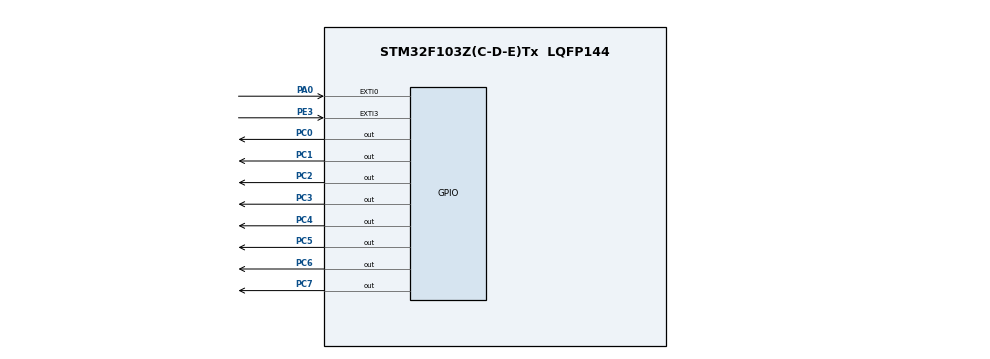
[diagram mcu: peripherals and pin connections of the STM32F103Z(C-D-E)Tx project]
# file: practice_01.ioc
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FREERTOS.BinarySemaphores01=myBinarySem01,Dynamic,NULL
FREERTOS.Queues01=myQueue01,16,uint16_t,0,Dynamic,NULL,NULL
FREERTOS.Tasks01=defaultTask,24,128,StartDefaultTask,Default,NULL,Dynamic,NULL,NULL;myTask02,8,128,StartTask02,Default,NULL,Dynamic,NULL,NULL;myTask03,8,128,StartTask03,Default,NULL,Dynamic,NULL,NULL;myTask04,8,128,StartTask04,Default,NULL,Dynamic,NULL,NULL
Mcu.Family=STM32F1
Mcu.Name=STM32F103Z(C-D-E)Tx
Mcu.Package=LQFP144
NVIC.EXTI0_IRQn=true\:5\:0\:false\:false\:true\:true\:true\:true\:true
NVIC.EXTI3_IRQn=true\:5\:0\:false\:false\:true\:true\:true\:true\:true
NVIC.PriorityGroup=NVIC_PRIORITYGROUP_4
PA0-WKUP.GPIO_ModeDefaultEXTI=GPIO_MODE_IT_RISING
PA0-WKUP.GPIO_PuPd=GPIO_PULLDOWN
PA0-WKUP.Signal=GPXTI0
PC0.Signal=GPIO_Output
PC1.Signal=GPIO_Output
PC2.Signal=GPIO_Output
PC3.Signal=GPIO_Output
PC4.Signal=GPIO_Output
PC5.Signal=GPIO_Output
PC6.Signal=GPIO_Output
PC7.Signal=GPIO_Output
PE3.GPIO_ModeDefaultEXTI=GPIO_MODE_IT_FALLING
PE3.GPIO_PuPd=GPIO_PULLDOWN
PE3.Signal=GPXTI3
ProjectManager.HeapSize=0x200
ProjectManager.StackSize=0x400
ProjectManager.TargetToolchain=STM32CubeIDE
RCC.APB1Freq_Value=8000000
RCC.APB2Freq_Value=8000000
VP_FREERTOS_VS_CMSIS_V2.Mode=CMSIS_V2
VP_SYS_VS_ND.Mode=No_Debug
board=custom

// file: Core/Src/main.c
/* USER CODE BEGIN Header */
/**
  ******************************************************************************
  * @file           : main.c
  * @brief          : Main program body
  ******************************************************************************
  * @attention
  *
  * Copyright (c) 2023 STMicroelectronics.
  * All rights reserved.
  *
  * This software is licensed under terms that can be found in the LICENSE file
  * in the root directory of this software component.
  * If no LICENSE file comes with this software, it is provided AS-IS.
  *
  ******************************************************************************
  */
/* USER CODE END Header */
#include "main.h"
#include "cmsis_os.h"

/* USER CODE BEGIN PD */
int counter = 0;

int digit[7][10] = {
		{1,0,1,1,0,1,1,1,1,1},
		{1,1,1,1,1,0,0,1,1,1},
		{1,1,0,1,1,1,1,1,1,1},
		{1,0,1,1,0,1,1,0,1,1},
		{1,0,1,0,0,0,1,0,1,0},
		{1,0,0,0,1,1,1,0,1,1},
		{0,0,1,1,1,1,1,0,1,1}
};
/* USER CODE END PD */

/* Definitions for defaultTask */
osThreadId_t defaultTaskHandle;
const osThreadAttr_t defaultTask_attributes = {
  .name = "defaultTask",
  .stack_size = 128 * 4,
  .priority = (osPriority_t) osPriorityNormal,
};
/* Definitions for myTask02 */
osThreadId_t myTask02Handle;
const osThreadAttr_t myTask02_attributes = {
  .name = "myTask02",
  .stack_size = 128 * 4,
  .priority = (osPriority_t) osPriorityLow,
};
/* Definitions for myTask03 */
osThreadId_t myTask03Handle;
const osThreadAttr_t myTask03_attributes = {
  .name = "myTask03",
  .stack_size = 128 * 4,
  .priority = (osPriority_t) osPriorityLow,
};
/* Definitions for myTask04 */
osThreadId_t myTask04Handle;
const osThreadAttr_t myTask04_attributes = {
  .name = "myTask04",
  .stack_size = 128 * 4,
  .priority = (osPriority_t) osPriorityLow,
};
/* Definitions for myQueue01 */
osMessageQueueId_t myQueue01Handle;
const osMessageQueueAttr_t myQueue01_attributes = {
  .name = "myQueue01"
};
/* Definitions for myBinarySem01 */
osSemaphoreId_t myBinarySem01Handle;
const osSemaphoreAttr_t myBinarySem01_attributes = {
  .name = "myBinarySem01"
};

void SystemClock_Config(void);
static void MX_GPIO_Init(void);
void StartDefaultTask(void *argument);
void StartTask02(void *argument);
void StartTask03(void *argument);
void StartTask04(void *argument);

int main(void)
{

  /* MCU Configuration--------------------------------------------------------*/

  /* Reset of all peripherals, Initializes the Flash interface and the Systick. */
  HAL_Init();

  /* Configure the system clock */
  SystemClock_Config();

  /* Initialize all configured peripherals */
  MX_GPIO_Init();

  /* Init scheduler */
  osKernelInitialize();

  /* Create the semaphores(s) */
  /* creation of myBinarySem01 */
  myBinarySem01Handle = osSemaphoreNew(1, 1, &myBinarySem01_attributes);

  /* Create the queue(s) */
  /* creation of myQueue01 */
  myQueue01Handle = osMessageQueueNew (16, sizeof(uint16_t), &myQueue01_attributes);

  /* Create the thread(s) */
  /* creation of defaultTask */
  defaultTaskHandle = osThreadNew(StartDefaultTask, NULL, &defaultTask_attributes);

  /* creation of myTask02 */
  myTask02Handle = osThreadNew(StartTask02, NULL, &myTask02_attributes);

  /* creation of myTask03 */
  myTask03Handle = osThreadNew(StartTask03, NULL, &myTask03_attributes);

  /* creation of myTask04 */
  myTask04Handle = osThreadNew(StartTask04, NULL, &myTask04_attributes);

  /* Start scheduler */
  osKernelStart();

  /* We should never get here as control is now taken by the scheduler */
  /* Infinite loop */
  while (1)
  {

  }
}

void SystemClock_Config(void)
{
  RCC_OscInitTypeDef RCC_OscInitStruct = {0};
  RCC_ClkInitTypeDef RCC_ClkInitStruct = {0};

  /** Initializes the RCC Oscillators according to the specified parameters
  * in the RCC_OscInitTypeDef structure.
  */
  RCC_OscInitStruct.OscillatorType = RCC_OSCILLATORTYPE_HSI;
  RCC_OscInitStruct.HSIState = RCC_HSI_ON;
  RCC_OscInitStruct.HSICalibrationValue = RCC_HSICALIBRATION_DEFAULT;
  RCC_OscInitStruct.PLL.PLLState = RCC_PLL_NONE;
  if (HAL_RCC_OscConfig(&RCC_OscInitStruct) != HAL_OK)
  {
    Error_Handler();
  }

  /** Initializes the CPU, AHB and APB buses clocks
  */
  RCC_ClkInitStruct.ClockType = RCC_CLOCKTYPE_HCLK|RCC_CLOCKTYPE_SYSCLK
                              |RCC_CLOCKTYPE_PCLK1|RCC_CLOCKTYPE_PCLK2;
  RCC_ClkInitStruct.SYSCLKSource = RCC_SYSCLKSOURCE_HSI;
  RCC_ClkInitStruct.AHBCLKDivider = RCC_SYSCLK_DIV1;
  RCC_ClkInitStruct.APB1CLKDivider = RCC_HCLK_DIV1;
  RCC_ClkInitStruct.APB2CLKDivider = RCC_HCLK_DIV1;

  if (HAL_RCC_ClockConfig(&RCC_ClkInitStruct, FLASH_LATENCY_0) != HAL_OK)
  {
    Error_Handler();
  }
}

static void MX_GPIO_Init(void)
{
  GPIO_InitTypeDef GPIO_InitStruct = {0};

  /* GPIO Ports Clock Enable */
  __HAL_RCC_GPIOE_CLK_ENABLE();
  __HAL_RCC_GPIOC_CLK_ENABLE();
  __HAL_RCC_GPIOA_CLK_ENABLE();

  /*Configure GPIO pin Output Level */
  HAL_GPIO_WritePin(GPIOC, GPIO_PIN_0|GPIO_PIN_1|GPIO_PIN_2|GPIO_PIN_3
                          |GPIO_PIN_4|GPIO_PIN_5|GPIO_PIN_6|GPIO_PIN_7, GPIO_PIN_RESET);

  /*Configure GPIO pin : PE3 */
  GPIO_InitStruct.Pin = GPIO_PIN_3;
  GPIO_InitStruct.Mode = GPIO_MODE_IT_FALLING;
  GPIO_InitStruct.Pull = GPIO_PULLDOWN;
  HAL_GPIO_Init(GPIOE, &GPIO_InitStruct);

  /*Configure GPIO pins : PC0 PC1 PC2 PC3
                           PC4 PC5 PC6 PC7 */
  GPIO_InitStruct.Pin = GPIO_PIN_0|GPIO_PIN_1|GPIO_PIN_2|GPIO_PIN_3
                          |GPIO_PIN_4|GPIO_PIN_5|GPIO_PIN_6|GPIO_PIN_7;
  GPIO_InitStruct.Mode = GPIO_MODE_OUTPUT_PP;
  GPIO_InitStruct.Pull = GPIO_NOPULL;
  GPIO_InitStruct.Speed = GPIO_SPEED_FREQ_LOW;
  HAL_GPIO_Init(GPIOC, &GPIO_InitStruct);

  /*Configure GPIO pin : PA0 */
  GPIO_InitStruct.Pin = GPIO_PIN_0;
  GPIO_InitStruct.Mode = GPIO_MODE_IT_RISING;
  GPIO_InitStruct.Pull = GPIO_PULLDOWN;
  HAL_GPIO_Init(GPIOA, &GPIO_InitStruct);

  /* EXTI interrupt init*/
  HAL_NVIC_SetPriority(EXTI0_IRQn, 5, 0);
  HAL_NVIC_EnableIRQ(EXTI0_IRQn);

  HAL_NVIC_SetPriority(EXTI3_IRQn, 5, 0);
  HAL_NVIC_EnableIRQ(EXTI3_IRQn);

}

/* USER CODE BEGIN 4 */
void HAL_GPIO_EXTI_Callback(uint16_t GPIO_Pin)
{
//  if(GPIO_Pin == GPIO_PIN_0)
//  {
//	  if(counter < 9)
//		  counter++;
//  } else if (GPIO_Pin == GPIO_PIN_3)
//  {
//	  if(counter > 0)
//		  counter--;
//  }

/*  HAL_GPIO_WritePin(GPIOC, GPIO_PIN_0, digit[0][counter]^1);
  HAL_GPIO_WritePin(GPIOC, GPIO_PIN_1, digit[1][counter]^1);
  HAL_GPIO_WritePin(GPIOC, GPIO_PIN_2, digit[2][counter]^1);
  HAL_GPIO_WritePin(GPIOC, GPIO_PIN_3, digit[3][counter]^1);
  HAL_GPIO_WritePin(GPIOC, GPIO_PIN_4, digit[4][counter]^1);
  HAL_GPIO_WritePin(GPIOC, GPIO_PIN_5, digit[5][counter]^1);
  HAL_GPIO_WritePin(GPIOC, GPIO_PIN_6, digit[6][counter]^1);*/

  // HAL_GPIO_WritePin(GPIOC, GPIO_PIN_7, GPIO_PIN_SET);
}

/* USER CODE END 4 */

void StartDefaultTask(void *argument)
{
  /* USER CODE BEGIN 5 */
  /* Infinite loop */
  for(;;)
  {
     if(HAL_GPIO_ReadPin(GPIOA, GPIO_PIN_0) == GPIO_PIN_SET)
	 {
    	 if(counter < 9)
    		 counter++;

    	 osMessageQueuePut(myQueue01Handle, &counter, NULL, osWaitForever);

    	 osSemaphoreRelease(myBinarySem01Handle);
	 }
	 osDelay(1);
  }
  /* USER CODE END 5 */
}

void StartTask02(void *argument)
{
  /* USER CODE BEGIN StartTask02 */
  /* Infinite loop */
  for(;;)
  {
	  if(HAL_GPIO_ReadPin(GPIOE, GPIO_PIN_3) == GPIO_PIN_SET)
	  {
		  if(counter > 0)
		 	counter--;

	    osMessageQueuePut(myQueue01Handle, &counter, NULL, osWaitForever);
	  }
	  osDelay(1);
  }
  /* USER CODE END StartTask02 */
}

void StartTask03(void *argument)
{
  /* USER CODE BEGIN StartTask03 */
  /* Infinite loop */
  for(;;)
  {
	osDelay(1);
	osSemaphoreAcquire(myBinarySem01Handle, osWaitForever);
	HAL_GPIO_TogglePin(GPIOC, GPIO_PIN_7);
  }
  osThreadTerminate(NULL);
  /* USER CODE END StartTask03 */
}

void StartTask04(void *argument)
{
  /* USER CODE BEGIN StartTask04 */
  /* Infinite loop */
  osEvent evt;
  for(;;)
  {
    osDelay(1);
    evt = osMessageQueueGet(myQueue01Handle, &counter, NULL, 1);
    if(evt.status == osEventMessage)
    	counter = evt.value.v;

    HAL_GPIO_WritePin(GPIOC, GPIO_PIN_0, digit[0][counter]^1);
    HAL_GPIO_WritePin(GPIOC, GPIO_PIN_1, digit[1][counter]^1);
    HAL_GPIO_WritePin(GPIOC, GPIO_PIN_2, digit[2][counter]^1);
    HAL_GPIO_WritePin(GPIOC, GPIO_PIN_3, digit[3][counter]^1);
    HAL_GPIO_WritePin(GPIOC, GPIO_PIN_4, digit[4][counter]^1);
    HAL_GPIO_WritePin(GPIOC, GPIO_PIN_5, digit[5][counter]^1);
    HAL_GPIO_WritePin(GPIOC, GPIO_PIN_6, digit[6][counter]^1);
  }
  /* USER CODE END StartTask04 */
}

void Error_Handler(void)
{
  __disable_irq();
  while (1)
  {
  }
}
